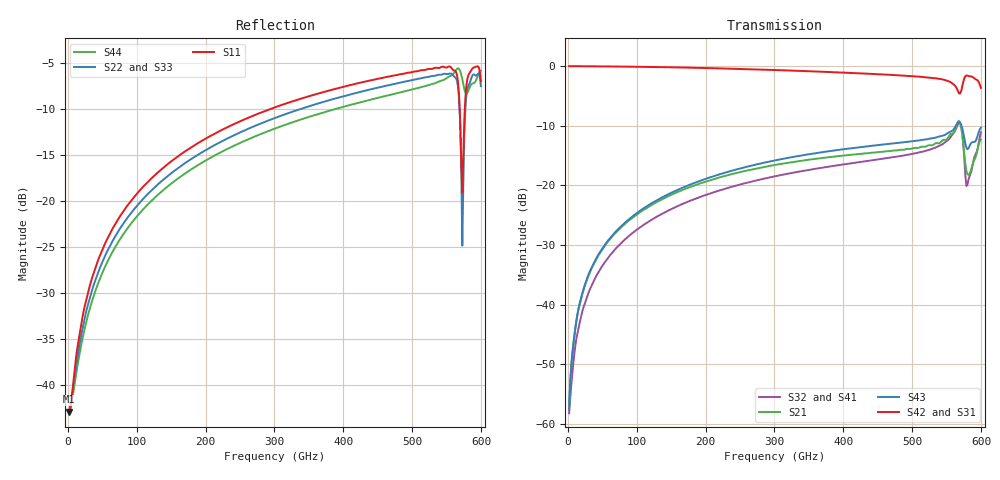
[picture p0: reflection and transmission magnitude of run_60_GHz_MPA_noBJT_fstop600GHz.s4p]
#  Hz  S  RI  R  50
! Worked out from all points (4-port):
!   400 points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, 1.5 GHz to 600 GHz, reference 50 ohm
!   strongest paths, dB at 1.5 GHz, 151.5 GHz, 301.5 GHz, 451.5 GHz, 600 GHz:
!     S42: -0.1, -0.3, -0.7, -1.4, -3.7
!     S31: -0.1, -0.3, -0.8, -1.7, -4.0
!     S43: -57.4, -21.2, -15.8, -13.3, -10.4
!     S21: -57.4, -21.5, -16.6, -14.4, -12.4
!     S32: -58.2, -23.9, -18.5, -15.7, -11.2
!     S41: -60.8, -23.9, -18.5, -15.6, -11.0
!   lowest |S11| = -42.9 dB at 1.5 GHz (marker M1), VSWR 1.01, Z = 50.7 - j0.173 ohm
!   |S11| at or under -10 dB: start of sweep to 292.7 GHz; 569.2 GHz to 576.7 GHz (7.478 GHz wide, 1.31 % of centre)
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1.5e9  0.00696 -0.00171  0.00107 0.000778  0.9933 -0.00464  -0.000916 0.000546
       0.000915 0.001  0.00692 -0.00123  -0.00108 0.000698  0.993 -0.00434
       0.993 -0.00439  -0.00103 0.000667  0.00693 -0.00131  0.00101 0.000894
       -0.000827 0.000385  0.9931 -0.00452  0.000923 0.000975  0.00696 -0.00108
2.85e10  0.00336 -0.031  0.00399 0.0164  0.9877 -0.0822  0.000216 0.0121
         0.00387 0.0162  0.00413 -0.0267  0.000108 0.0123  0.9878 -0.0791
         0.9875 -0.0821  7.24e-05 0.012  0.00744 -0.0255  0.00212 0.0169
         0.000185 0.0122  0.9879 -0.0791  0.00208 0.017  0.00765 -0.0224
1.05e11  -0.0522 -0.103  0.0338 0.0491  0.9375 -0.29  0.0179 0.0415
         0.0337 0.0492  -0.0428 -0.0895  0.0175 0.0417  0.9413 -0.2804
         0.9354 -0.2891  0.0173 0.041  -0.00117 -0.098  0.0133 0.0598
         0.0177 0.0407  0.9402 -0.2798  0.0132 0.0599  0.00113 -0.087
5.565e11  -0.1133 0.5233  -0.0983 -0.249  0.0216 -0.7316  0.1851 -0.1961
          -0.1032 -0.2492  -0.1164 0.4813  0.1854 -0.1925  0.0476 -0.7517
          0.0432 -0.6932  0.1877 -0.1736  -0.316 -0.4079  0.2251 0.164
          0.1886 -0.1845  0.0589 -0.7241  0.2301 0.1629  -0.2729 -0.397
5.73e11  -0.0476 0.1006  -0.1816 0.2009  0.2033 -0.6572  -0.0452 -0.2832
         -0.1771 0.1957  -0.00834 0.0567  -0.0382 -0.2694  0.229 -0.6538
         0.237 -0.6234  -0.0358 -0.266  -0.3795 -0.3022  0.2904 0.0556
         -0.0451 -0.2794  0.2571 -0.6239  0.2939 0.0519  -0.3565 -0.2916
5.79e11  -0.334 0.2677  0.1225 0.0415  0.1621 -0.8271  -0.0197 -0.1041
         0.1221 0.049  -0.3145 0.212  -0.0081 -0.0986  0.2048 -0.8344
         0.1755 -0.7856  0.00808 -0.098  -0.2913 -0.3075  0.1974 0.0503
         -0.00733 -0.1057  0.2033 -0.8051  0.2 0.0483  -0.2596 -0.2834
6e11  0.0179 0.4495  -0.2141 -0.1293  0.0098 -0.6601  0.0953 -0.2808
      -0.2083 -0.1206  0.0303 0.4215  0.0955 -0.2729  0.0281 -0.673
      0.0307 -0.6328  0.1211 -0.2492  -0.3835 -0.3815  0.2723 0.1258
      0.1131 -0.2597  0.0329 -0.6525  0.2775 0.1224  -0.347 -0.3778
